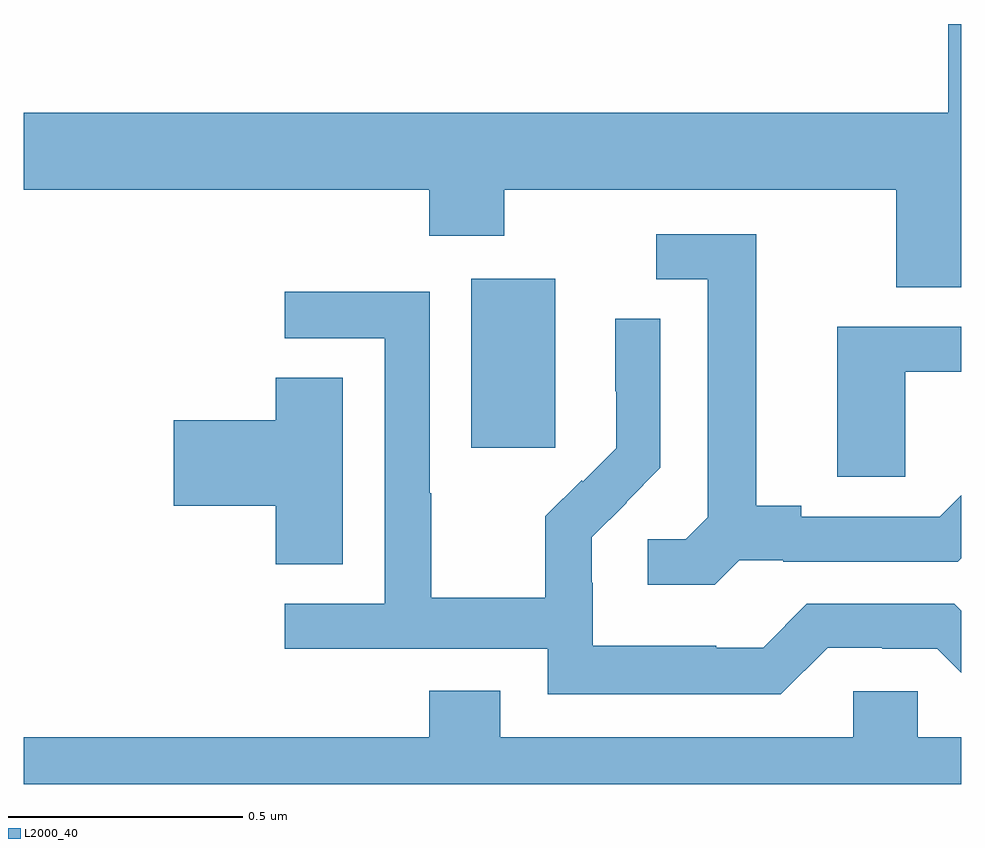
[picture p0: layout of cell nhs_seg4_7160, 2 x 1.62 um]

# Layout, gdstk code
import gdstk
lib = gdstk.Library(unit=1e-6, precision=1e-09)
def R(c, l, rs):  # rectangles x0, y0, x1, y1
    for r in rs: c.add(gdstk.rectangle(r[:2], r[2:], *l))
def P(c, l, *ps):  # polygons
    for p in ps: c.add(gdstk.Polygon(p, *l))
L2000_40 = (2000, 40)

nhs_seg4_7160 = lib.new_cell('nhs_seg4_7160')
R(nhs_seg4_7160, L2000_40, [(199.955,781.617,200.134,781.978)])
P(nhs_seg4_7160, L2000_40, [(201,782.521),(200.972,782.521),(200.972,782.332),(199,782.332),(199,782.168),(199.865,782.168),(199.865,782.069),(200.025,782.069),(200.025,782.168),(200.861,782.168),(200.861,781.96),(201,781.96)],
  [(200.526,781.377),(200.62,781.377),(200.62,781.374),(200.992,781.374),(201,781.382),(201,781.516),(200.954,781.47),(200.659,781.47),(200.659,781.493),(200.563,781.493),(200.563,782.073),(200.349,782.073),(200.349,781.977),(200.459,781.977),(200.459,781.469),(200.412,781.422),(200.331,781.422),(200.331,781.325),(200.474,781.325)],
  [(200.715,781.191),(200.831,781.191),(200.831,781.188),(200.949,781.188),(201,781.137),(201,781.269),(200.985,781.284),(200.67,781.284),(200.577,781.191),(200.477,781.191),(200.477,781.195),(200.214,781.195),(200.214,781.329),(200.212,781.329),(200.212,781.426),(200.286,781.5),(200.285,781.501),(200.358,781.574),(200.358,781.892),(200.262,781.892),(200.262,781.738),(200.264,781.738),(200.264,781.616),(200.193,781.545),(200.19,781.548),(200.113,781.471),(200.113,781.297),(199.869,781.297),(199.869,781.52),(199.866,781.52),(199.866,781.95),(199.557,781.95),(199.557,781.851),(199.77,781.851),(199.77,781.284),(199.557,781.284),(199.557,781.188),(200.118,781.188),(200.118,781.091),(200.615,781.091)],
  [(200.88,781.779),(201,781.779),(201,781.875),(200.735,781.875),(200.735,781.555),(200.88,781.555)],
  [(199.681,781.766),(199.538,781.766),(199.538,781.676),(199.32,781.676),(199.32,781.493),(199.538,781.493),(199.538,781.369),(199.681,781.369)],
  [(201,781),(200.907,781),(200.907,781.098),(200.769,781.098),(200.769,781),(200.017,781),(200.017,781.099),(199.865,781.099),(199.865,781),(199,781),(199,780.9),(201,780.9)])

lib.write_gds('nhs_seg4_7160.gds')
